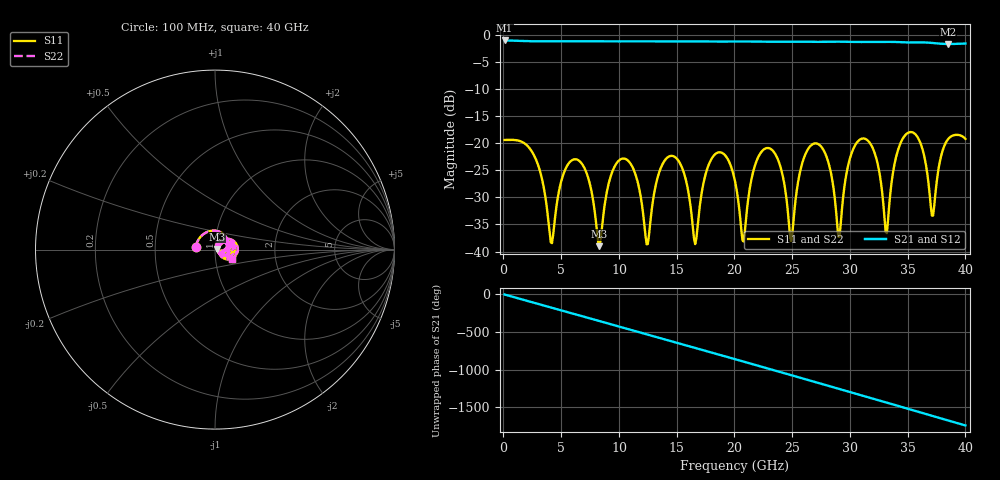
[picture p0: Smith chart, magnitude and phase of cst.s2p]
! T_vna6_cpwg_20: Coplanar waveguide with ground, LibreVNA RF class (w 0.35, gap 0.18 mm), 20 mm
! stackup: LibreVNA 6-layer (7628 / FR-4, from the board file)
! ports: 1 near A, 2 far A
! CST Studio Suite 2025.5 Release from 2025-05-30, time domain (FIT, hexahedral, PBA), 403480 mesh cells, 85 s
! mesh: {'lpw': 20, 'lpb': 20, 'minstep': 0.0, 'ratio': 20}; ports: port 1 (face); port 2 (face)
! interpolated from CST's 1001 samples to the case grid
# Hz S RI R 50
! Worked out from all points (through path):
!   400 points, 100 MHz to 40 GHz, reference 50 ohm
!   highest |S21| = -0.99 dB at 100 MHz (marker M1); lowest = -1.6 dB at 38.5 GHz (marker M2)
!   group delay of S21, straight-line fit = 121 ps
!   lowest |S11| = -39.0 dB at 8.3 GHz (marker M3), VSWR 1.02, Z = 51.1 + j0.414 ohm
!   |S11| at or under -10 dB: start of sweep to end of sweep
!   |S22| runs from -39.0 to -17.9 dB; largest |S21 - S12| = 4.5e-07
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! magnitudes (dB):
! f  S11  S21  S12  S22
! 100 MHz  -19.4  -1.0  -1.0  -19.4
! 4.2 GHz  -38.5  -1.1  -1.1  -38.5
! 6.8 GHz  -23.8  -1.2  -1.2  -23.8
! 8.3 GHz  -39.0  -1.1  -1.1  -39.0
! 9.9 GHz  -23.4  -1.2  -1.2  -23.4
! 12.4 GHz  -38.7  -1.1  -1.1  -38.7
! 13.4 GHz  -25.9  -1.2  -1.2  -25.9
! 15.3 GHz  -23.7  -1.2  -1.2  -23.7
! 16.6 GHz  -38.6  -1.2  -1.2  -38.6
! 18.1 GHz  -22.6  -1.2  -1.2  -22.6
! 20.1 GHz  -27.5  -1.2  -1.2  -27.5
! 20.8 GHz  -38.1  -1.2  -1.2  -38.1
! 23.3 GHz  -21.3  -1.2  -1.2  -21.3
! 24.9 GHz  -38.1  -1.2  -1.2  -38.1
! 26.7 GHz  -20.3  -1.2  -1.2  -20.3
! 29 GHz  -37.3  -1.2  -1.2  -37.3
! 30.9 GHz  -19.3  -1.3  -1.3  -19.3
! 33.4 GHz  -31.5  -1.2  -1.2  -31.5
! 35.4 GHz  -18.0  -1.4  -1.4  -18.0
! 37.2 GHz  -33.4  -1.5  -1.5  -33.4
! 38.5 GHz  -19.2  -1.6  -1.6  -19.2
! 40 GHz  -19.2  -1.6  -1.6  -19.2
